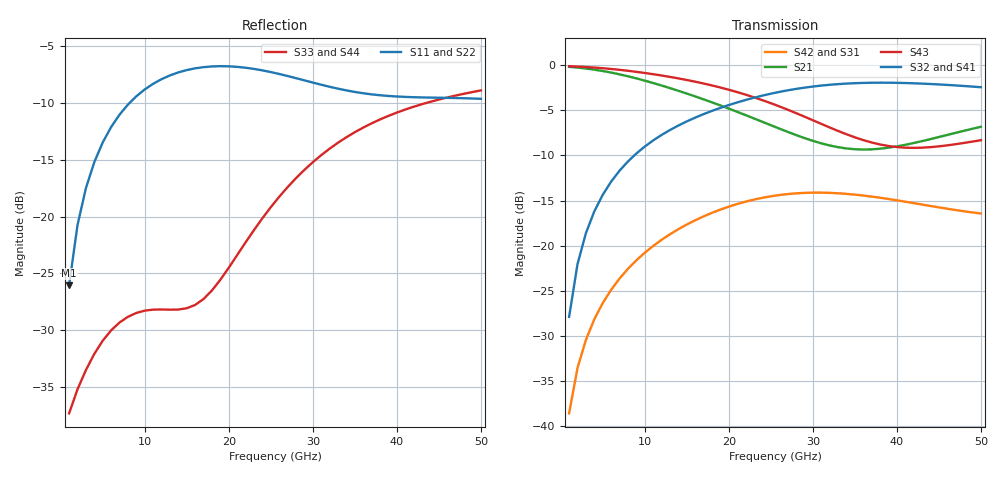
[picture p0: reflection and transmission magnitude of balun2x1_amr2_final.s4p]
! Created with skrf 2.2.0 (http://scikit-rf.org).
# GHz S DB R 50.0
! Port[1] = P1
! Port[2] = P2
! Port[3] = P3
! Port[4] = P4
!freq dBS11 angS11 dBS12 angS12 dBS13 angS13
! dBS14 angS14
! dBS21 angS21 dBS22 angS22 dBS23 angS23
! dBS24 angS24
! dBS31 angS31 dBS32 angS32 dBS33 angS33
! dBS34 angS34
! dBS41 angS41 dBS42 angS42 dBS43 angS43
! dBS44 angS44
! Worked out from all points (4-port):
!   50 points, 1 GHz to 50 GHz, reference 50 ohm
!   strongest paths, dB at 1 GHz, 13 GHz, 26 GHz, 38 GHz, 50 GHz:
!     S32: -27.9, -7.2, -3.0, -1.9, -2.4
!     S41: -27.9, -7.2, -3.0, -2.0, -2.5
!     S43: -0.1, -1.3, -4.6, -8.8, -8.3
!     S21: -0.2, -2.5, -7.0, -9.3, -6.8
!     S42: -38.6, -18.7, -14.4, -14.7, -16.4
!     S31: -38.6, -18.8, -14.5, -14.9, -16.6
!   lowest |S11| = -26.0 dB at 1 GHz (marker M1), VSWR 1.11, Z = 52 + j4.7 ohm
!   |S11| at or under -10 dB: start of sweep to 8.2 GHz
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1  -26.03 64.5  -0.19 -5.3  -38.57 -109.8  -27.88 84.2
   -0.19 -5.3  -26.03 64.4  -27.89 84.1  -38.57 -109.9
   -38.57 -109.8  -27.89 84.1  -37.30 24.5  -0.12 -2.6
   -27.88 84.2  -38.57 -109.9  -0.12 -2.6  -37.30 24.5
4  -15.20 62.3  -0.50 -19.7  -28.16 -133.4  -16.20 73.5
   -0.50 -19.7  -15.20 62.1  -16.20 73.5  -28.15 -133.8
   -28.16 -133.4  -16.20 73.5  -32.07 30.4  -0.27 -9.6
   -16.20 73.5  -28.15 -133.8  -0.27 -9.6  -32.06 30.2
9  -9.42 40.8  -1.47 -42.5  -21.65 -174.0  -9.79 55.9
   -1.47 -42.5  -9.43 40.4  -9.79 55.9  -21.62 -174.6
   -21.65 -174.0  -9.79 55.9  -28.47 3.8  -0.75 -20.7
   -9.79 55.9  -21.62 -174.6  -0.75 -20.7  -28.46 3.3
17  -6.85 9.6  -3.79 -77.5  -16.84 128.1  -5.44 31.8
    -3.79 -77.5  -6.89 8.8  -5.43 31.7  -16.76 127.0
    -16.84 128.1  -5.43 31.7  -27.24 -87.7  -2.04 -36.7
    -5.44 31.8  -16.76 127.0  -2.04 -36.7  -27.06 -88.8
28  -7.82 -18.8  -7.74 -136.7  -14.37 63.2  -2.66 0.6
    -7.74 -136.7  -7.97 -20.4  -2.64 0.4  -14.21 61.5
    -14.37 63.2  -2.64 0.4  -16.62 169.2  -5.32 -52.6
    -2.66 0.6  -14.21 61.5  -5.32 -52.6  -16.42 169.0
37  -9.25 -26.6  -9.33 158.3  -14.78 23.5  -1.99 -24.2
    -9.33 158.3  -9.56 -28.0  -1.95 -24.5  -14.56 21.0
    -14.78 23.5  -1.95 -24.5  -11.80 127.2  -8.57 -47.7
    -1.99 -24.2  -14.56 21.0  -8.57 -47.7  -11.62 127.0
50  -9.64 -37.2  -6.83 89.3  -16.61 -7.7  -2.49 -53.6
    -6.83 89.3  -9.99 -37.6  -2.45 -54.2  -16.44 -12.0
    -16.61 -7.7  -2.45 -54.2  -8.90 89.6  -8.32 -30.1
    -2.49 -53.6  -16.44 -12.0  -8.32 -30.1  -8.74 89.0
